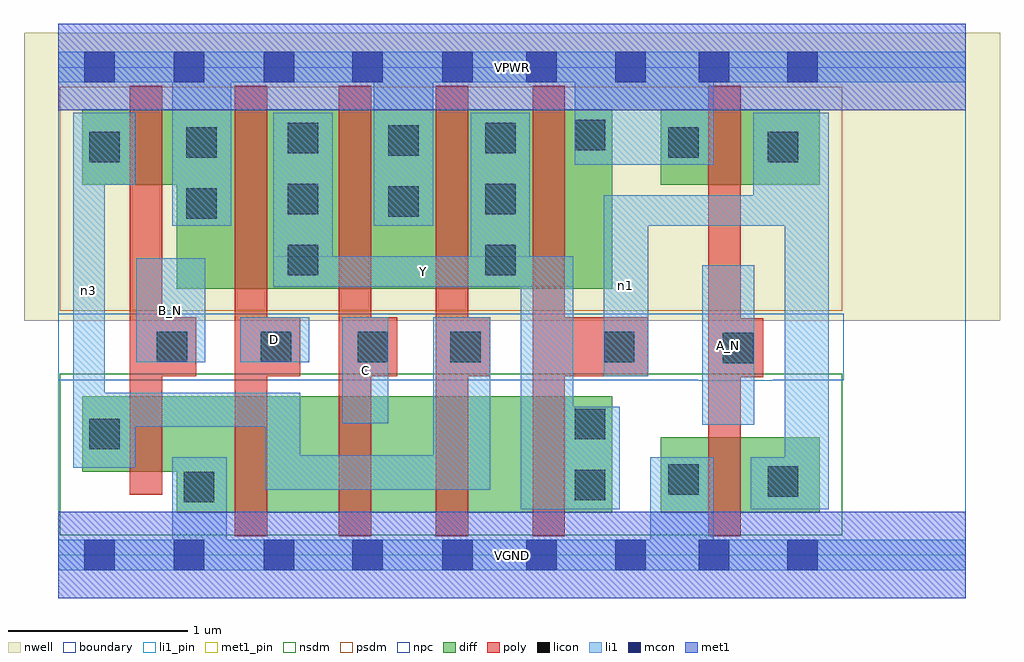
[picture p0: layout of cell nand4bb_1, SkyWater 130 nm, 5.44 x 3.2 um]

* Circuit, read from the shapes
.subckt nand4bb_1 A_N B_N C D VGND VPWR Y n1 n3
XM1 VGND B_N n3 VSUBS sky130_fd_pr__nfet_01v8 w=0.42 l=0.18
XM2 n2 D VGND VSUBS sky130_fd_pr__nfet_01v8 w=0.65 l=0.18
XM3 n4 C n2 VSUBS sky130_fd_pr__nfet_01v8 w=0.65 l=0.18
XM4 n5 n3 n4 VSUBS sky130_fd_pr__nfet_01v8 w=0.65 l=0.18
XM5 Y n1 n5 VSUBS sky130_fd_pr__nfet_01v8 w=0.65 l=0.18
XM6 n1 A_N VGND VSUBS sky130_fd_pr__nfet_01v8 w=0.42 l=0.18
XM7 VPWR B_N n3 n6 sky130_fd_pr__pfet_01v8 w=0.42 l=0.18
XM8 Y D VPWR n6 sky130_fd_pr__pfet_01v8 w=1 l=0.18
XM9 VPWR C Y n6 sky130_fd_pr__pfet_01v8 w=1 l=0.18
XM10 Y n3 VPWR n6 sky130_fd_pr__pfet_01v8 w=1 l=0.18
XM11 VPWR n1 Y n6 sky130_fd_pr__pfet_01v8 w=1 l=0.18
XM12 n1 A_N VPWR n6 sky130_fd_pr__pfet_01v8 w=0.42 l=0.18
.ends

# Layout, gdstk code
import gdstk
lib = gdstk.Library(unit=1e-6, precision=1e-09)
def R(c, l, rs):  # rectangles x0, y0, x1, y1
    for r in rs: c.add(gdstk.rectangle(r[:2], r[2:], *l))
def A(c, l, x, y, w, h, nx, ny, dx, dy):  # array of equal rectangles
    R(c, l, [(x+i*dx, y+j*dy, x+i*dx+w, y+j*dy+h) for i in range(nx) for j in range(ny)])
nwell = (64, 20)
diff = (65, 20)
poly = (66, 20)
licon = (66, 44)
li1_pin = (67, 16)
li1 = (67, 20)
mcon = (67, 44)
met1_pin = (68, 16)
met1 = (68, 20)
nsdm = (93, 44)
psdm = (94, 20)
npc = (95, 20)
boundary = (235, 4)

nand4bb_1 = lib.new_cell('nand4bb_1')
R(nand4bb_1, nwell, [(-0.19,1.305,5.25,2.91), (0,1.305,5.06,2.91)])
R(nand4bb_1, diff, [(0.66,0.235,3.09,0.885), (3.36,0.235,4.245,0.655), (0.135,0.465,3.09,0.885), (0.66,1.485,3.09,2.485), (0.135,2.065,3.09,2.485), (3.36,2.065,4.245,2.485)])
A(nand4bb_1, poly, 1.565, 0.105, 0.18, 2.51, 3, 1, 0.54, 0)
R(nand4bb_1, poly, [(0.985,0.105,1.165,2.615), (3.625,0.105,3.805,2.615), (0.4,0.335,0.58,2.615), (3.625,0.99,3.93,1.32), (0.4,0.995,0.77,1.325), (0.985,0.995,1.35,1.325), (1.565,0.995,1.89,1.325), (2.105,0.995,2.41,1.325), (2.645,0.995,3.29,1.325)])
A(nand4bb_1, licon, 1.28, 1.56, 0.17, 0.17, 1, 3, 0, 0.34)
A(nand4bb_1, licon, 2.38, 1.56, 0.17, 0.17, 1, 3, 0, 0.34)
R(nand4bb_1, licon, [(0.7,0.295,0.87,0.465), (2.88,0.305,3.05,0.475), (3.955,0.325,4.125,0.495), (3.4,0.335,3.57,0.505), (0.175,0.59,0.345,0.76), (2.88,0.645,3.05,0.815), (3.705,1.07,3.875,1.24), (0.55,1.075,0.72,1.245), (1.13,1.075,1.3,1.245), (1.67,1.075,1.84,1.245), (2.185,1.075,2.355,1.245), (3.04,1.075,3.21,1.245), (0.715,1.875,0.885,2.045), (1.84,1.885,2.01,2.055), (0.175,2.19,0.345,2.36), (3.955,2.19,4.125,2.36), (0.715,2.215,0.885,2.385), (3.4,2.215,3.57,2.385), (1.84,2.225,2.01,2.395), (2.88,2.255,3.05,2.425)])
R(nand4bb_1, li1_pin, [(3.59,0.725,3.88,1.615), (1.585,0.735,1.84,1.325), (0.435,1.075,0.82,1.655), (1.015,1.075,1.4,1.325), (1.2,1.495,2.87,1.665)])
R(nand4bb_1, li1, [(0,-0.085,5.06,0.085), (0.635,-0.085,0.94,0.545), (3.3,-0.085,3.655,0.545), (2.58,0.255,2.87,1.665), (2.58,0.255,3.13,0.825), (3.86,0.255,4.295,0.545), (4.05,0.255,4.295,2.465), (1.155,0.365,2.41,0.555), (1.155,0.365,1.35,0.905), (2.09,0.365,2.41,1.325), (0.085,0.485,0.26,2.465), (0.085,0.485,0.43,0.905), (0.085,0.715,1.35,0.905), (3.59,0.725,3.88,1.615), (1.585,0.735,1.84,1.325), (3.04,0.995,3.29,2.005), (0.435,1.075,0.82,1.655), (1.015,1.075,1.4,1.325), (1.2,1.495,1.53,2.465), (1.2,1.495,2.87,1.665), (2.3,1.495,2.63,2.465), (0.635,1.835,0.965,2.805), (1.76,1.835,2.09,2.805), (3.04,1.835,4.295,2.005), (3.875,1.835,4.295,2.465), (0.085,2.065,0.43,2.465), (2.88,2.175,3.655,2.805), (0,2.635,5.06,2.805)])
A(nand4bb_1, mcon, 0.145, -0.085, 0.17, 0.17, 3, 2, 0.5, 2.72)
R(nand4bb_1, mcon, [(1.64,-0.085,1.81,0.085), (2.14,-0.085,2.31,0.085), (2.61,-0.085,2.78,0.085), (3.105,-0.085,3.275,0.085), (3.57,-0.085,3.74,0.085), (4.065,-0.085,4.235,0.085), (1.64,2.635,1.81,2.805), (2.14,2.635,2.31,2.805), (2.61,2.635,2.78,2.805), (3.105,2.635,3.275,2.805), (3.57,2.635,3.74,2.805), (4.065,2.635,4.235,2.805)])
R(nand4bb_1, met1_pin, [(0,-0.24,5.06,0.24), (0,2.48,5.06,2.96)])
R(nand4bb_1, met1, [(0,-0.24,5.06,0.24), (0,2.48,5.06,2.96)])
R(nand4bb_1, nsdm, [(0.01,0.11,4.37,1.01)])
R(nand4bb_1, psdm, [(0.01,1.36,4.37,2.61)])
R(nand4bb_1, npc, [(3.57,0.97,3.98,1.345), (0,0.975,4.38,1.345)])
R(nand4bb_1, boundary, [(0,0,5.06,2.72)])
nand4bb_1.add(gdstk.Label('A_N', (3.735,1.17), layer=67, texttype=5))
nand4bb_1.add(gdstk.Label('B_N', (0.627,1.365), layer=67, texttype=5))
nand4bb_1.add(gdstk.Label('C', (1.712,1.03), layer=67, texttype=5))
nand4bb_1.add(gdstk.Label('D', (1.207,1.2), layer=67, texttype=5))
nand4bb_1.add(gdstk.Label('Y', (2.035,1.58), layer=67, texttype=5))
nand4bb_1.add(gdstk.Label('n3', (0.172,1.475), layer=67, texttype=5))
nand4bb_1.add(gdstk.Label('n1', (3.165,1.5), layer=67, texttype=5))
nand4bb_1.add(gdstk.Label('VPWR', (2.53,2.72), layer=68, texttype=5))
nand4bb_1.add(gdstk.Label('VGND', (2.53,0), layer=68, texttype=5))
nand4bb_1.add(gdstk.Label('A_N', (3.735,1.17), layer=67, texttype=16))
nand4bb_1.add(gdstk.Label('B_N', (0.627,1.365), layer=67, texttype=16))
nand4bb_1.add(gdstk.Label('C', (1.712,1.03), layer=67, texttype=16))
nand4bb_1.add(gdstk.Label('D', (1.207,1.2), layer=67, texttype=16))
nand4bb_1.add(gdstk.Label('Y', (2.035,1.58), layer=67, texttype=16))
nand4bb_1.add(gdstk.Label('VPWR', (2.53,2.72), layer=68, texttype=16))
nand4bb_1.add(gdstk.Label('VGND', (2.53,0), layer=68, texttype=16))

lib.write_gds('nand4bb_1.gds')
